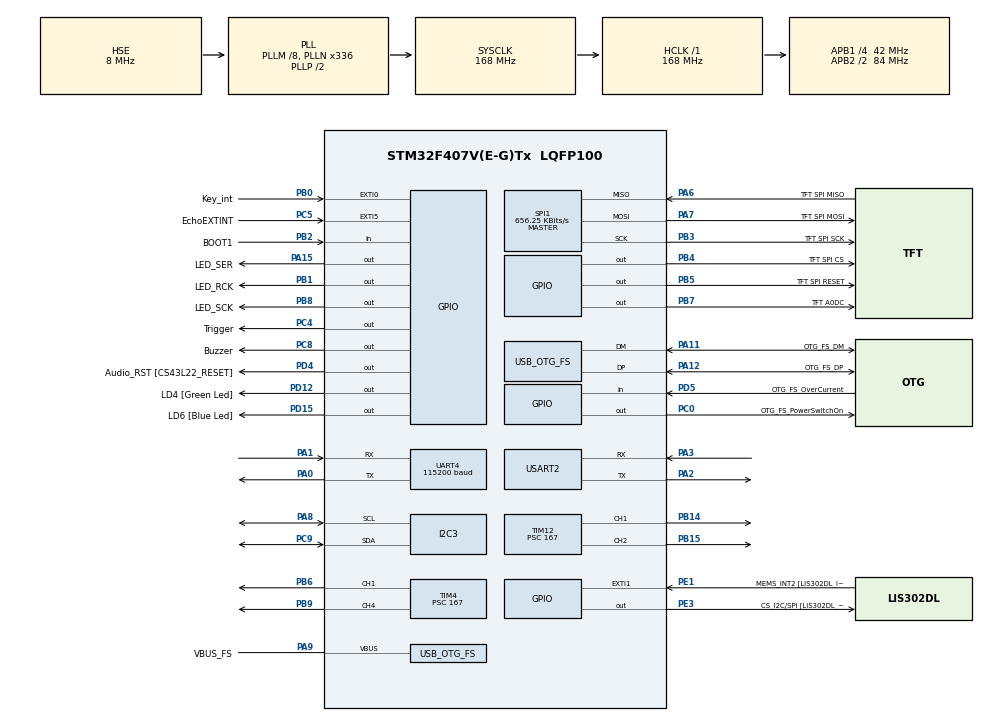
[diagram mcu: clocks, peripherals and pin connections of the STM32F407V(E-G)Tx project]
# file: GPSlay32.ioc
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FREERTOS.INCLUDE_pcTaskGetTaskName=1
FREERTOS.INCLUDE_xEventGroupSetBitFromISR=1
FREERTOS.INCLUDE_xTaskGetHandle=1
FREERTOS.Tasks01=defaultTask,24,128,StartDefaultTask,Default,NULL,Dynamic,NULL,NULL
FREERTOS.configTOTAL_HEAP_SIZE=64000
FREERTOS.configUSE_NEWLIB_REENTRANT=1
Mcu.Family=STM32F4
Mcu.Name=STM32F407V(E-G)Tx
Mcu.Package=LQFP100
NVIC.EXTI0_IRQn=true\:5\:0\:false\:false\:true\:true\:true\:true\:true
NVIC.EXTI9_5_IRQn=true\:5\:0\:false\:false\:true\:true\:true\:true\:true
NVIC.OTG_FS_IRQn=true\:5\:0\:false\:false\:true\:true\:true\:true\:true
NVIC.PriorityGroup=NVIC_PRIORITYGROUP_4
NVIC.TIM1_UP_TIM10_IRQn=true\:0\:0\:false\:false\:true\:false\:false\:true\:true
NVIC.TimeBase=TIM1_UP_TIM10_IRQn
NVIC.TimeBaseIP=TIM1
NVIC.UART4_IRQn=true\:5\:0\:false\:false\:true\:true\:true\:true\:true
NVIC.USART2_IRQn=true\:5\:0\:false\:false\:true\:true\:true\:true\:true
PA0-WKUP.Mode=Asynchronous
PA0-WKUP.Signal=UART4_TX
PA1.Mode=Asynchronous
PA1.Signal=UART4_RX
PA10.GPIO_Label=OTG_FS_ID
PA10.GPIO_Mode=GPIO_MODE_AF_PP
PA10.GPIO_PuPd=GPIO_NOPULL
PA10.GPIO_Speed=GPIO_SPEED_FREQ_LOW
PA10.Signal=USB_OTG_FS_ID
PA11.GPIO_Label=OTG_FS_DM
PA11.GPIO_Mode=GPIO_MODE_AF_PP
PA11.GPIO_PuPd=GPIO_NOPULL
PA11.GPIO_Speed=GPIO_SPEED_FREQ_LOW
PA11.Mode=Host_Only
PA11.Signal=USB_OTG_FS_DM
PA12.GPIO_Label=OTG_FS_DP
PA12.GPIO_Mode=GPIO_MODE_AF_PP
PA12.GPIO_PuPd=GPIO_NOPULL
PA12.GPIO_Speed=GPIO_SPEED_FREQ_LOW
PA12.Mode=Host_Only
PA12.Signal=USB_OTG_FS_DP
PA13.GPIO_Label=SWDIO
PA13.Mode=Serial_Wire
PA13.Signal=SYS_JTMS-SWDIO
PA14.GPIO_Label=SWCLK
PA14.Mode=Serial_Wire
PA14.Signal=SYS_JTCK-SWCLK
PA15.GPIO_Label=LED_SER
PA15.Signal=GPIO_Output
PA2.Mode=Asynchronous
PA2.Signal=USART2_TX
PA3.Mode=Asynchronous
PA3.Signal=USART2_RX
PA6.GPIO_Label=TFT SPI MISO
PA6.Mode=Full_Duplex_Master
PA6.Signal=SPI1_MISO
PA7.GPIO_Label=TFT SPI MOSI
PA7.Mode=Full_Duplex_Master
PA7.Signal=SPI1_MOSI
PA8.GPIO_Pu=GPIO_PULLUP
PA8.Mode=I2C
PA8.Signal=I2C3_SCL
PA9.GPIO_Label=VBUS_FS
PA9.GPIO_Mode=GPIO_MODE_INPUT
PA9.GPIO_PuPd=GPIO_NOPULL
PA9.Mode=Activate_VBUS
PA9.Signal=USB_OTG_FS_VBUS
PB0.GPIO_Label=Key_int
PB0.Signal=GPXTI0
PB1.GPIO_Label=LED_RCK
PB1.Signal=GPIO_Output
PB10.GPIO_Label=CLK_IN [MP45DT02_CLK]
PB10.GPIO_Mode=GPIO_MODE_AF_PP
PB10.GPIO_PuPd=GPIO_NOPULL
PB10.GPIO_Speed=GPIO_SPEED_FREQ_LOW
PB10.Signal=I2S2_CK
PB14.Signal=S_TIM12_CH1
PB15.Signal=S_TIM12_CH2
PB2.GPIO_Label=BOOT1
PB2.GPIO_Mode=GPIO_MODE_INPUT
PB2.GPIO_PuPd=GPIO_NOPULL
PB2.Signal=GPIO_Input
PB3.GPIO_Label=TFT SPI SCK
PB3.Mode=Full_Duplex_Master
PB3.Signal=SPI1_SCK
PB4.GPIO_Label=TFT SPI CS
PB4.Signal=GPIO_Output
PB5.GPIO_Label=TFT SPI RESET
PB5.Signal=GPIO_Output
PB6.Signal=S_TIM4_CH1
PB7.GPIO_Label=TFT A0DC
PB7.Signal=GPIO_Output
PB8.GPIO_Label=LED_SCK
PB8.Signal=GPIO_Output
PB9.Signal=S_TIM4_CH4
PC0.GPIO_Label=OTG_FS_PowerSwitchOn
PC0.GPIO_PuPd=GPIO_NOPULL
PC0.GPIO_Speed=GPIO_SPEED_FREQ_LOW
PC0.PinState=GPIO_PIN_SET
PC0.Signal=GPIO_Output
PC10.GPIO_Label=I2S3_SCK [CS43L22_SCLK]
PC10.GPIO_Mode=GPIO_MODE_AF_PP
PC10.GPIO_PuPd=GPIO_NOPULL
PC10.GPIO_Speed=GPIO_SPEED_FREQ_LOW
PC10.Signal=I2S3_CK
PC12.Signal=I2S3_SD
PC14-OSC32_IN.GPIO_Label=PC14-OSC32_IN
PC14-OSC32_IN.Mode=LSE-External-Oscillator
PC14-OSC32_IN.Signal=RCC_OSC32_IN
PC15-OSC32_OUT.GPIO_Label=PC15-OSC32_OUT
PC15-OSC32_OUT.Mode=LSE-External-Oscillator
PC15-OSC32_OUT.Signal=RCC_OSC32_OUT
PC3.GPIO_Label=PDM_OUT [MP45DT02_DOUT]
PC3.GPIO_Mode=GPIO_MODE_AF_PP
PC3.GPIO_PuPd=GPIO_NOPULL
PC3.GPIO_Speed=GPIO_SPEED_FREQ_LOW
PC3.Signal=I2S2_SD
PC4.GPIO_Label=Trigger
PC4.Signal=GPIO_Output
PC5.GPIO_Label=EchoEXTINT
PC5.GPIO_ModeDefaultEXTI=GPIO_MODE_IT_RISING_FALLING
PC5.GPIO_PuPd=GPIO_PULLDOWN
PC5.Signal=GPXTI5
PC7.GPIO_Label=I2S3_MCK [CS43L22_MCLK]
PC7.GPIO_Mode=GPIO_MODE_AF_PP
PC7.GPIO_PuPd=GPIO_NOPULL
PC7.GPIO_Speed=GPIO_SPEED_FREQ_LOW
PC7.Signal=I2S3_MCK
PC8.GPIO_Label=Buzzer
PC8.Signal=GPIO_Output
PC9.GPIO_Pu=GPIO_PULLUP
PC9.Mode=I2C
PC9.Signal=I2C3_SDA
PD12.GPIO_Label=LD4 [Green Led]
PD12.GPIO_PuPd=GPIO_NOPULL
PD12.GPIO_Speed=GPIO_SPEED_FREQ_LOW
PD12.Signal=GPIO_Output
PD15.GPIO_Label=LD6 [Blue Led]
PD15.GPIO_PuPd=GPIO_NOPULL
PD15.GPIO_Speed=GPIO_SPEED_FREQ_LOW
PD15.Signal=GPIO_Output
PD4.GPIO_Label=Audio_RST [CS43L22_RESET]
PD4.GPIO_PuPd=GPIO_NOPULL
PD4.GPIO_Speed=GPIO_SPEED_FREQ_LOW
PD4.Signal=GPIO_Output
PD5.GPIO_Label=OTG_FS_OverCurrent
PD5.GPIO_Mode=GPIO_MODE_INPUT
PD5.GPIO_PuPd=GPIO_NOPULL
PD5.Signal=GPIO_Input
PE1.GPIO_Label=MEMS_INT2 [LIS302DL_INT2]
PE1.GPIO_ModeDefaultEXTI=GPIO_MODE_EVT_RISING
PE1.GPIO_PuPd=GPIO_NOPULL
PE1.Signal=GPXTI1
PE3.GPIO_Label=CS_I2C/SPI [LIS302DL_CS_I2C/SPI]
PE3.GPIO_PuPd=GPIO_NOPULL
PE3.GPIO_Speed=GPIO_SPEED_FREQ_LOW
PE3.Signal=GPIO_Output
PH0-OSC_IN.GPIO_Label=PH0-OSC_IN
PH0-OSC_IN.Mode=HSE-External-Oscillator
PH0-OSC_IN.Signal=RCC_OSC_IN
PH1-OSC_OUT.GPIO_Label=PH1-OSC_OUT
PH1-OSC_OUT.Mode=HSE-External-Oscillator
PH1-OSC_OUT.Signal=RCC_OSC_OUT
ProjectManager.HeapSize=0x200
ProjectManager.StackSize=0x400
ProjectManager.TargetToolchain=STM32CubeIDE
RCC.48MHZClocksFreq_Value=48000000
RCC.AHBFreq_Value=168000000
RCC.APB1CLKDivider=RCC_HCLK_DIV4
RCC.APB1Freq_Value=42000000
RCC.APB1TimFreq_Value=84000000
RCC.APB2CLKDivider=RCC_HCLK_DIV2
RCC.APB2Freq_Value=84000000
RCC.APB2TimFreq_Value=168000000
RCC.CortexFreq_Value=168000000
RCC.HCLKFreq_Value=168000000
RCC.HSE_VALUE=8000000
RCC.HSI_VALUE=16000000
RCC.PLLM=8
RCC.PLLN=336
RCC.PLLQ=7
RCC.SYSCLKFreq_VALUE=168000000
RCC.SYSCLKSource=RCC_SYSCLKSOURCE_PLLCLK
RCC.VCOOutputFreq_Value=336000000
SH.S_TIM12_CH1.0=TIM12_CH1,PWM Generation1 CH1
SH.S_TIM12_CH2.0=TIM12_CH2,PWM Generation2 CH2
SH.S_TIM4_CH1.0=TIM4_CH1,PWM Generation1 CH1
SH.S_TIM4_CH4.0=TIM4_CH4,PWM Generation4 CH4
SPI1.BaudRatePrescaler=SPI_BAUDRATEPRESCALER_128
SPI1.CalculateBaudRate=656.25 KBits/s
SPI1.Direction=SPI_DIRECTION_2LINES
SPI1.Mode=SPI_MODE_MASTER
SPI1.VirtualType=VM_MASTER
TIM12.Channel-PWM\ Generation1\ CH1=TIM_CHANNEL_1
TIM12.Channel-PWM\ Generation2\ CH2=TIM_CHANNEL_2
TIM12.Prescaler=167
TIM4.Channel-PWM\ Generation1\ CH1=TIM_CHANNEL_1
TIM4.Channel-PWM\ Generation4\ CH4=TIM_CHANNEL_4
TIM4.Prescaler=167
TIM8.AutoReloadPreload=TIM_AUTORELOAD_PRELOAD_ENABLE
TIM8.Period=999
TIM8.Prescaler=167
TIM9.Period=12000
TIM9.Prescaler=167
UART4.BaudRate=115200
UART4.VirtualMode=Asynchronous
USART2.VirtualMode=VM_ASYNC
USB_HOST.BSP.number=1
USB_HOST.USBH_HandleTypeDef-CDC_FS=hUsbHostFS
USB_HOST.VirtualModeFS=Cdc
USB_HOST0.BSP.STBoard=false
USB_HOST0.BSP.api=Unknown
USB_HOST0.BSP.instance=PC0
USB_HOST0.BSP.ip=GPIO
USB_HOST0.BSP.mode=Output
USB_HOST0.BSP.name=Drive_VBUS_FS
USB_HOST0.BSP.solution=PC0
USB_OTG_FS.VirtualMode=Host_Only
USB_OTG_FS.phy_itface=HCD_PHY_EMBEDDED
VP_FREERTOS_VS_CMSIS_V2.Mode=CMSIS_V2
VP_SYS_VS_tim1.Mode=TIM1
VP_TIM8_VS_ClockSourceINT.Mode=Internal
VP_TIM9_VS_ClockSourceINT.Mode=Internal
VP_USB_HOST_VS_USB_HOST_CDC_FS.Mode=CDC_FS
board=STM32F407G-DISC1

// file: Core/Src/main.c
/* USER CODE BEGIN Header */
/**
  ******************************************************************************
  * @file           : main.c
  * @brief          : Main program body
  *
  ******************************************************************************
  * @attention Het grootste deel van deze main.c wordt gegenereerd door STM.
  * Eigen code bevindt zich op 'gereserveerde' plekken, wees daar voorzichtig mee.
  * Om deze reden heb ik zo min mogelijk 'eigen code' toegevoegd.
  *
  * <h2><center>&copy; Copyright (c) 2021 STMicroelectronics.
  * All rights reserved.</center></h2>
  *
  * This software component is licensed by ST under Ultimate Liberty license
  * SLA0044, the "License"; You may not use this file except in compliance with
  * the License. You may obtain a copy of the License at:
  *                             www.st.com/SLA0044
  *
  ******************************************************************************
  */
/* USER CODE END Header */
#include "main.h"
#include "cmsis_os.h"
#include "usb_host.h"

/* USER CODE BEGIN Includes */
#include "admin.h"
#include "NRF24.h"
#include "NRF24_reg_addresses.h"
#include "st7735.h"

/* USER CODE END Includes */

I2C_HandleTypeDef hi2c3;

SPI_HandleTypeDef hspi1;

TIM_HandleTypeDef htim4;
TIM_HandleTypeDef htim8;
TIM_HandleTypeDef htim9;
TIM_HandleTypeDef htim12;

UART_HandleTypeDef huart4;
UART_HandleTypeDef huart2;

/* Definitions for defaultTask */
osThreadId_t defaultTaskHandle;
const osThreadAttr_t defaultTask_attributes = {
  .name = "defaultTask",
  .stack_size = 128 * 4,
  .priority = (osPriority_t) osPriorityNormal,
};
/* USER CODE BEGIN PV */
// UART RX and TX buffers
unsigned char       uart4_char, uart2_char;

#define LSM303_MAG_ADDR     (0x1E << 1)   // Magnetometer I2C address for HAL
#define LSM303_WHO_AM_I_REG 0x4F          // WHO_AM_I register address
/* USER CODE END PV */

void SystemClock_Config(void);
static void MX_GPIO_Init(void);
static void MX_USART2_UART_Init(void);
static void MX_UART4_Init(void);
static void MX_SPI1_Init(void);
static void MX_I2C3_Init(void);
static void MX_TIM4_Init(void);
static void MX_TIM12_Init(void);
static void MX_TIM8_Init(void);
static void MX_TIM9_Init(void);
void StartDefaultTask(void *argument);

/* USER CODE BEGIN 0 */
void I2C_ScanBus(I2C_HandleTypeDef *hi2c) {
    char msg[32];
    for (uint8_t addr = 1; addr < 128; addr++) {
        if (HAL_I2C_IsDeviceReady(hi2c, addr << 1, 1, 10) == HAL_OK) {
            sprintf(msg, "Found device at 0x%02X\r\n", addr);
            UART_puts(msg);
        }
    }
}

/* USER CODE END 0 */

int main(void)
{

  /* MCU Configuration--------------------------------------------------------*/

  /* Reset of all peripherals, Initializes the Flash interface and the Systick. */
  HAL_Init();

  /* Configure the system clock */
  SystemClock_Config();

  /* Initialize all configured peripherals */
  MX_GPIO_Init();
  MX_USART2_UART_Init();
  MX_UART4_Init();
  MX_SPI1_Init();
  MX_I2C3_Init();
  MX_TIM4_Init();
  MX_TIM12_Init();
  MX_TIM8_Init();
  MX_TIM9_Init();
  /* USER CODE BEGIN 2 */

  // ST7735_Init();
  // ST7735_FillScreen(ST7735_BLACK);

  if (HAL_TIM_Base_Start_IT(&htim8) != HAL_OK)
  {
    Error_Handler();
  }

  UART_puts("\r\n\r\n\r\n I2C Bus scan:\r\n");
  I2C_ScanBus(&hi2c3);
  UART_puts("\r\n\r\n\r\n Starting up...\r\n");

  // LCD_init();
  KEYS_init();
  KEYS_initISR(1); // set all lines high once
  LED_init();

  DisplayVersion();
  osDelay(500); // time to read version

  /* USER CODE END 2 */

  /* Init scheduler */
  osKernelInitialize();

  /* Create the thread(s) */
  /* creation of defaultTask */
  defaultTaskHandle = osThreadNew(StartDefaultTask, NULL, &defaultTask_attributes);

  /* Start scheduler */
  osKernelStart();

  /* We should never get here as control is now taken by the scheduler */

  /* Infinite loop */
  while (1)
  {

  }
}

void SystemClock_Config(void)
{
  RCC_OscInitTypeDef RCC_OscInitStruct = {0};
  RCC_ClkInitTypeDef RCC_ClkInitStruct = {0};

  /** Configure the main internal regulator output voltage
  */
  __HAL_RCC_PWR_CLK_ENABLE();
  __HAL_PWR_VOLTAGESCALING_CONFIG(PWR_REGULATOR_VOLTAGE_SCALE1);

  /** Initializes the RCC Oscillators according to the specified parameters
  * in the RCC_OscInitTypeDef structure.
  */
  RCC_OscInitStruct.OscillatorType = RCC_OSCILLATORTYPE_HSE;
  RCC_OscInitStruct.HSEState = RCC_HSE_ON;
  RCC_OscInitStruct.PLL.PLLState = RCC_PLL_ON;
  RCC_OscInitStruct.PLL.PLLSource = RCC_PLLSOURCE_HSE;
  RCC_OscInitStruct.PLL.PLLM = 8;
  RCC_OscInitStruct.PLL.PLLN = 336;
  RCC_OscInitStruct.PLL.PLLP = RCC_PLLP_DIV2;
  RCC_OscInitStruct.PLL.PLLQ = 7;
  if (HAL_RCC_OscConfig(&RCC_OscInitStruct) != HAL_OK)
  {
    Error_Handler();
  }

  /** Initializes the CPU, AHB and APB buses clocks
  */
  RCC_ClkInitStruct.ClockType = RCC_CLOCKTYPE_HCLK|RCC_CLOCKTYPE_SYSCLK
                              |RCC_CLOCKTYPE_PCLK1|RCC_CLOCKTYPE_PCLK2;
  RCC_ClkInitStruct.SYSCLKSource = RCC_SYSCLKSOURCE_PLLCLK;
  RCC_ClkInitStruct.AHBCLKDivider = RCC_SYSCLK_DIV1;
  RCC_ClkInitStruct.APB1CLKDivider = RCC_HCLK_DIV4;
  RCC_ClkInitStruct.APB2CLKDivider = RCC_HCLK_DIV2;

  if (HAL_RCC_ClockConfig(&RCC_ClkInitStruct, FLASH_LATENCY_5) != HAL_OK)
  {
    Error_Handler();
  }
}

static void MX_I2C3_Init(void)
{

  hi2c3.Instance = I2C3;
  hi2c3.Init.ClockSpeed = 100000;
  hi2c3.Init.DutyCycle = I2C_DUTYCYCLE_2;
  hi2c3.Init.OwnAddress1 = 0;
  hi2c3.Init.AddressingMode = I2C_ADDRESSINGMODE_7BIT;
  hi2c3.Init.DualAddressMode = I2C_DUALADDRESS_DISABLE;
  hi2c3.Init.OwnAddress2 = 0;
  hi2c3.Init.GeneralCallMode = I2C_GENERALCALL_DISABLE;
  hi2c3.Init.NoStretchMode = I2C_NOSTRETCH_DISABLE;
  if (HAL_I2C_Init(&hi2c3) != HAL_OK)
  {
    Error_Handler();
  }

}

static void MX_SPI1_Init(void)
{

  /* SPI1 parameter configuration*/
  hspi1.Instance = SPI1;
  hspi1.Init.Mode = SPI_MODE_MASTER;
  hspi1.Init.Direction = SPI_DIRECTION_2LINES;
  hspi1.Init.DataSize = SPI_DATASIZE_8BIT;
  hspi1.Init.CLKPolarity = SPI_POLARITY_LOW;
  hspi1.Init.CLKPhase = SPI_PHASE_1EDGE;
  hspi1.Init.NSS = SPI_NSS_SOFT;
  hspi1.Init.BaudRatePrescaler = SPI_BAUDRATEPRESCALER_128;
  hspi1.Init.FirstBit = SPI_FIRSTBIT_MSB;
  hspi1.Init.TIMode = SPI_TIMODE_DISABLE;
  hspi1.Init.CRCCalculation = SPI_CRCCALCULATION_DISABLE;
  hspi1.Init.CRCPolynomial = 10;
  if (HAL_SPI_Init(&hspi1) != HAL_OK)
  {
    Error_Handler();
  }

}

static void MX_TIM4_Init(void)
{

  TIM_MasterConfigTypeDef sMasterConfig = {0};
  TIM_OC_InitTypeDef sConfigOC = {0};

  htim4.Instance = TIM4;
  htim4.Init.Prescaler = 167;
  htim4.Init.CounterMode = TIM_COUNTERMODE_UP;
  htim4.Init.Period = 65535;
  htim4.Init.ClockDivision = TIM_CLOCKDIVISION_DIV1;
  htim4.Init.AutoReloadPreload = TIM_AUTORELOAD_PRELOAD_DISABLE;
  if (HAL_TIM_PWM_Init(&htim4) != HAL_OK)
  {
    Error_Handler();
  }
  sMasterConfig.MasterOutputTrigger = TIM_TRGO_RESET;
  sMasterConfig.MasterSlaveMode = TIM_MASTERSLAVEMODE_DISABLE;
  if (HAL_TIMEx_MasterConfigSynchronization(&htim4, &sMasterConfig) != HAL_OK)
  {
    Error_Handler();
  }
  sConfigOC.OCMode = TIM_OCMODE_PWM1;
  sConfigOC.Pulse = 0;
  sConfigOC.OCPolarity = TIM_OCPOLARITY_HIGH;
  sConfigOC.OCFastMode = TIM_OCFAST_DISABLE;
  if (HAL_TIM_PWM_ConfigChannel(&htim4, &sConfigOC, TIM_CHANNEL_1) != HAL_OK)
  {
    Error_Handler();
  }
  if (HAL_TIM_PWM_ConfigChannel(&htim4, &sConfigOC, TIM_CHANNEL_4) != HAL_OK)
  {
    Error_Handler();
  }
  HAL_TIM_MspPostInit(&htim4);

}

static void MX_TIM8_Init(void)
{

  TIM_ClockConfigTypeDef sClockSourceConfig = {0};
  TIM_MasterConfigTypeDef sMasterConfig = {0};

  htim8.Instance = TIM8;
  htim8.Init.Prescaler = 167;
  htim8.Init.CounterMode = TIM_COUNTERMODE_UP;
  htim8.Init.Period = 999;
  htim8.Init.ClockDivision = TIM_CLOCKDIVISION_DIV1;
  htim8.Init.RepetitionCounter = 0;
  htim8.Init.AutoReloadPreload = TIM_AUTORELOAD_PRELOAD_ENABLE;
  if (HAL_TIM_Base_Init(&htim8) != HAL_OK)
  {
    Error_Handler();
  }
  sClockSourceConfig.ClockSource = TIM_CLOCKSOURCE_INTERNAL;
  if (HAL_TIM_ConfigClockSource(&htim8, &sClockSourceConfig) != HAL_OK)
  {
    Error_Handler();
  }
  sMasterConfig.MasterOutputTrigger = TIM_TRGO_RESET;
  sMasterConfig.MasterSlaveMode = TIM_MASTERSLAVEMODE_DISABLE;
  if (HAL_TIMEx_MasterConfigSynchronization(&htim8, &sMasterConfig) != HAL_OK)
  {
    Error_Handler();
  }

}

static void MX_TIM9_Init(void)
{

  TIM_ClockConfigTypeDef sClockSourceConfig = {0};

  htim9.Instance = TIM9;
  htim9.Init.Prescaler = 167;
  htim9.Init.CounterMode = TIM_COUNTERMODE_UP;
  htim9.Init.Period = 12000;
  htim9.Init.ClockDivision = TIM_CLOCKDIVISION_DIV1;
  htim9.Init.AutoReloadPreload = TIM_AUTORELOAD_PRELOAD_DISABLE;
  if (HAL_TIM_Base_Init(&htim9) != HAL_OK)
  {
    Error_Handler();
  }
  sClockSourceConfig.ClockSource = TIM_CLOCKSOURCE_INTERNAL;
  if (HAL_TIM_ConfigClockSource(&htim9, &sClockSourceConfig) != HAL_OK)
  {
    Error_Handler();
  }

}

static void MX_TIM12_Init(void)
{

  TIM_OC_InitTypeDef sConfigOC = {0};

  htim12.Instance = TIM12;
  htim12.Init.Prescaler = 167;
  htim12.Init.CounterMode = TIM_COUNTERMODE_UP;
  htim12.Init.Period = 65535;
  htim12.Init.ClockDivision = TIM_CLOCKDIVISION_DIV1;
  htim12.Init.AutoReloadPreload = TIM_AUTORELOAD_PRELOAD_DISABLE;
  if (HAL_TIM_PWM_Init(&htim12) != HAL_OK)
  {
    Error_Handler();
  }
  sConfigOC.OCMode = TIM_OCMODE_PWM1;
  sConfigOC.Pulse = 0;
  sConfigOC.OCPolarity = TIM_OCPOLARITY_HIGH;
  sConfigOC.OCFastMode = TIM_OCFAST_DISABLE;
  if (HAL_TIM_PWM_ConfigChannel(&htim12, &sConfigOC, TIM_CHANNEL_1) != HAL_OK)
  {
    Error_Handler();
  }
  if (HAL_TIM_PWM_ConfigChannel(&htim12, &sConfigOC, TIM_CHANNEL_2) != HAL_OK)
  {
    Error_Handler();
  }
  HAL_TIM_MspPostInit(&htim12);

}

static void MX_UART4_Init(void)
{

  huart4.Instance = UART4;
  huart4.Init.BaudRate = 115200;
  huart4.Init.WordLength = UART_WORDLENGTH_8B;
  huart4.Init.StopBits = UART_STOPBITS_1;
  huart4.Init.Parity = UART_PARITY_NONE;
  huart4.Init.Mode = UART_MODE_TX_RX;
  huart4.Init.HwFlowCtl = UART_HWCONTROL_NONE;
  huart4.Init.OverSampling = UART_OVERSAMPLING_16;
  if (HAL_UART_Init(&huart4) != HAL_OK)
  {
    Error_Handler();
  }

}

static void MX_USART2_UART_Init(void)
{

  huart2.Instance = USART2;
  huart2.Init.BaudRate = 115200;
  huart2.Init.WordLength = UART_WORDLENGTH_8B;
  huart2.Init.StopBits = UART_STOPBITS_1;
  huart2.Init.Parity = UART_PARITY_NONE;
  huart2.Init.Mode = UART_MODE_TX_RX;
  huart2.Init.HwFlowCtl = UART_HWCONTROL_NONE;
  huart2.Init.OverSampling = UART_OVERSAMPLING_16;
  if (HAL_UART_Init(&huart2) != HAL_OK)
  {
    Error_Handler();
  }

}

static void MX_GPIO_Init(void)
{
  GPIO_InitTypeDef GPIO_InitStruct = {0};

  /* GPIO Ports Clock Enable */
  __HAL_RCC_GPIOE_CLK_ENABLE();
  __HAL_RCC_GPIOC_CLK_ENABLE();
  __HAL_RCC_GPIOH_CLK_ENABLE();
  __HAL_RCC_GPIOA_CLK_ENABLE();
  __HAL_RCC_GPIOB_CLK_ENABLE();
  __HAL_RCC_GPIOD_CLK_ENABLE();

  /*Configure GPIO pin Output Level */
  HAL_GPIO_WritePin(CS_I2C_SPI_GPIO_Port, CS_I2C_SPI_Pin, GPIO_PIN_RESET);

  /*Configure GPIO pin Output Level */
  HAL_GPIO_WritePin(OTG_FS_PowerSwitchOn_GPIO_Port, OTG_FS_PowerSwitchOn_Pin, GPIO_PIN_SET);

  /*Configure GPIO pin Output Level */
  HAL_GPIO_WritePin(GPIOC, Trigger_Pin|Buzzer_Pin, GPIO_PIN_RESET);

  /*Configure GPIO pin Output Level */
  HAL_GPIO_WritePin(GPIOB, LED_RCK_Pin|TFT_SPI_CS_Pin|TFT_SPI_RESET_Pin|TFT_A0DC_Pin
                          |LED_SCK_Pin, GPIO_PIN_RESET);

  /*Configure GPIO pin Output Level */
  HAL_GPIO_WritePin(GPIOD, LD4_Pin|LD6_Pin|Audio_RST_Pin, GPIO_PIN_RESET);

  /*Configure GPIO pin Output Level */
  HAL_GPIO_WritePin(LED_SER_GPIO_Port, LED_SER_Pin, GPIO_PIN_RESET);

  /*Configure GPIO pin : CS_I2C_SPI_Pin */
  GPIO_InitStruct.Pin = CS_I2C_SPI_Pin;
  GPIO_InitStruct.Mode = GPIO_MODE_OUTPUT_PP;
  GPIO_InitStruct.Pull = GPIO_NOPULL;
  GPIO_InitStruct.Speed = GPIO_SPEED_FREQ_LOW;
  HAL_GPIO_Init(CS_I2C_SPI_GPIO_Port, &GPIO_InitStruct);

  /*Configure GPIO pins : OTG_FS_PowerSwitchOn_Pin Trigger_Pin Buzzer_Pin */
  GPIO_InitStruct.Pin = OTG_FS_PowerSwitchOn_Pin|Trigger_Pin|Buzzer_Pin;
  GPIO_InitStruct.Mode = GPIO_MODE_OUTPUT_PP;
  GPIO_InitStruct.Pull = GPIO_NOPULL;
  GPIO_InitStruct.Speed = GPIO_SPEED_FREQ_LOW;
  HAL_GPIO_Init(GPIOC, &GPIO_InitStruct);

  /*Configure GPIO pin : PDM_OUT_Pin */
  GPIO_InitStruct.Pin = PDM_OUT_Pin;
  GPIO_InitStruct.Mode = GPIO_MODE_AF_PP;
  GPIO_InitStruct.Pull = GPIO_NOPULL;
  GPIO_InitStruct.Speed = GPIO_SPEED_FREQ_LOW;
  GPIO_InitStruct.Alternate = GPIO_AF5_SPI2;
  HAL_GPIO_Init(PDM_OUT_GPIO_Port, &GPIO_InitStruct);

  /*Configure GPIO pin : EchoEXTINT_Pin */
  GPIO_InitStruct.Pin = EchoEXTINT_Pin;
  GPIO_InitStruct.Mode = GPIO_MODE_IT_RISING_FALLING;
  GPIO_InitStruct.Pull = GPIO_PULLDOWN;
  HAL_GPIO_Init(EchoEXTINT_GPIO_Port, &GPIO_InitStruct);

  /*Configure GPIO pin : Key_int_Pin */
  GPIO_InitStruct.Pin = Key_int_Pin;
  GPIO_InitStruct.Mode = GPIO_MODE_IT_RISING;
  GPIO_InitStruct.Pull = GPIO_NOPULL;
  HAL_GPIO_Init(Key_int_GPIO_Port, &GPIO_InitStruct);

  /*Configure GPIO pins : LED_RCK_Pin TFT_SPI_CS_Pin TFT_SPI_RESET_Pin TFT_A0DC_Pin
                           LED_SCK_Pin */
  GPIO_InitStruct.Pin = LED_RCK_Pin|TFT_SPI_CS_Pin|TFT_SPI_RESET_Pin|TFT_A0DC_Pin
                          |LED_SCK_Pin;
  GPIO_InitStruct.Mode = GPIO_MODE_OUTPUT_PP;
  GPIO_InitStruct.Pull = GPIO_NOPULL;
  GPIO_InitStruct.Speed = GPIO_SPEED_FREQ_LOW;
  HAL_GPIO_Init(GPIOB, &GPIO_InitStruct);

  /*Configure GPIO pin : BOOT1_Pin */
  GPIO_InitStruct.Pin = BOOT1_Pin;
  GPIO_InitStruct.Mode = GPIO_MODE_INPUT;
  GPIO_InitStruct.Pull = GPIO_NOPULL;
  HAL_GPIO_Init(BOOT1_GPIO_Port, &GPIO_InitStruct);

  /*Configure GPIO pin : CLK_IN_Pin */
  GPIO_InitStruct.Pin = CLK_IN_Pin;
  GPIO_InitStruct.Mode = GPIO_MODE_AF_PP;
  GPIO_InitStruct.Pull = GPIO_NOPULL;
  GPIO_InitStruct.Speed = GPIO_SPEED_FREQ_LOW;
  GPIO_InitStruct.Alternate = GPIO_AF5_SPI2;
  HAL_GPIO_Init(CLK_IN_GPIO_Port, &GPIO_InitStruct);

  /*Configure GPIO pins : LD4_Pin LD6_Pin Audio_RST_Pin */
  GPIO_InitStruct.Pin = LD4_Pin|LD6_Pin|Audio_RST_Pin;
  GPIO_InitStruct.Mode = GPIO_MODE_OUTPUT_PP;
  GPIO_InitStruct.Pull = GPIO_NOPULL;
  GPIO_InitStruct.Speed = GPIO_SPEED_FREQ_LOW;
  HAL_GPIO_Init(GPIOD, &GPIO_InitStruct);

  /*Configure GPIO pins : I2S3_MCK_Pin I2S3_SCK_Pin PC12 */
  GPIO_InitStruct.Pin = I2S3_MCK_Pin|I2S3_SCK_Pin|GPIO_PIN_12;
  GPIO_InitStruct.Mode = GPIO_MODE_AF_PP;
  GPIO_InitStruct.Pull = GPIO_NOPULL;
  GPIO_InitStruct.Speed = GPIO_SPEED_FREQ_LOW;
  GPIO_InitStruct.Alternate = GPIO_AF6_SPI3;
  HAL_GPIO_Init(GPIOC, &GPIO_InitStruct);

  /*Configure GPIO pin : LED_SER_Pin */
  GPIO_InitStruct.Pin = LED_SER_Pin;
  GPIO_InitStruct.Mode = GPIO_MODE_OUTPUT_PP;
  GPIO_InitStruct.Pull = GPIO_NOPULL;
  GPIO_InitStruct.Speed = GPIO_SPEED_FREQ_LOW;
  HAL_GPIO_Init(LED_SER_GPIO_Port, &GPIO_InitStruct);

  /*Configure GPIO pin : OTG_FS_OverCurrent_Pin */
  GPIO_InitStruct.Pin = OTG_FS_OverCurrent_Pin;
  GPIO_InitStruct.Mode = GPIO_MODE_INPUT;
  GPIO_InitStruct.Pull = GPIO_NOPULL;
  HAL_GPIO_Init(OTG_FS_OverCurrent_GPIO_Port, &GPIO_InitStruct);

  /*Configure GPIO pin : MEMS_INT2_Pin */
  GPIO_InitStruct.Pin = MEMS_INT2_Pin;
  GPIO_InitStruct.Mode = GPIO_MODE_EVT_RISING;
  GPIO_InitStruct.Pull = GPIO_NOPULL;
  HAL_GPIO_Init(MEMS_INT2_GPIO_Port, &GPIO_InitStruct);

  /* EXTI interrupt init*/
  HAL_NVIC_SetPriority(EXTI0_IRQn, 5, 0);
  HAL_NVIC_EnableIRQ(EXTI0_IRQn);

  HAL_NVIC_SetPriority(EXTI9_5_IRQn, 5, 0);
  HAL_NVIC_EnableIRQ(EXTI9_5_IRQn);

  /* USER CODE BEGIN MX_GPIO_Init_2 */

  /*----------------------*/
  /* SPI1 pins            */
  /*----------------------*/

  /* PB3 -> SPI1_SCK */
  GPIO_InitStruct.Pin = GPIO_PIN_3;
  GPIO_InitStruct.Mode = GPIO_MODE_AF_PP;
  GPIO_InitStruct.Pull = GPIO_NOPULL;
  GPIO_InitStruct.Speed = GPIO_SPEED_FREQ_VERY_HIGH;
  GPIO_InitStruct.Alternate = GPIO_AF5_SPI1;
  HAL_GPIO_Init(GPIOB, &GPIO_InitStruct);

  /* PA6 -> SPI1_MISO */
  GPIO_InitStruct.Pin = GPIO_PIN_6;
  GPIO_InitStruct.Mode = GPIO_MODE_AF_PP;
  GPIO_InitStruct.Pull = GPIO_NOPULL;
  GPIO_InitStruct.Speed = GPIO_SPEED_FREQ_VERY_HIGH;
  GPIO_InitStruct.Alternate = GPIO_AF5_SPI1;
  HAL_GPIO_Init(GPIOA, &GPIO_InitStruct);

  /* PA7 -> SPI1_MOSI */
  GPIO_InitStruct.Pin = GPIO_PIN_7;
  GPIO_InitStruct.Mode = GPIO_MODE_AF_PP;
  GPIO_InitStruct.Pull = GPIO_NOPULL;
  GPIO_InitStruct.Speed = GPIO_SPEED_FREQ_VERY_HIGH;
  GPIO_InitStruct.Alternate = GPIO_AF5_SPI1;
  HAL_GPIO_Init(GPIOA, &GPIO_InitStruct);

  /*----------------------*/
  /* I2C3 pins (SCL/SDA) */
  /* PA8 -> I2C3_SCL, PC9 -> I2C3_SDA */
  /* Configure as AF Open-Drain with pull-ups so HAL I2C works correctly */
  GPIO_InitStruct.Pin = GPIO_PIN_8;
  GPIO_InitStruct.Mode = GPIO_MODE_AF_OD;
  GPIO_InitStruct.Pull = GPIO_NOPULL;
  GPIO_InitStruct.Speed = GPIO_SPEED_FREQ_VERY_HIGH;
  GPIO_InitStruct.Alternate = GPIO_AF4_I2C3;
  HAL_GPIO_Init(GPIOA, &GPIO_InitStruct);

  GPIO_InitStruct.Pin = GPIO_PIN_9;
  GPIO_InitStruct.Mode = GPIO_MODE_AF_OD;
  GPIO_InitStruct.Pull = GPIO_NOPULL;
  GPIO_InitStruct.Speed = GPIO_SPEED_FREQ_VERY_HIGH;
  GPIO_InitStruct.Alternate = GPIO_AF4_I2C3;
  HAL_GPIO_Init(GPIOC, &GPIO_InitStruct);
  /* USER CODE END MX_GPIO_Init_2 */
}

/* USER CODE BEGIN 4 */

/* only used in UART interrupt mode. Now configured as local UART echo*/

/**
  * @brief  ISR die UART-characters op een Queue zet. De core-functie wordt gegenereerd.
  * <p>Demonstreert: xQueueSendFromISR(); portYIELD_FROM_ISR();</p>
  * @param huart
  * @return void.
  */
void HAL_UART_RxCpltCallback(UART_HandleTypeDef *huart)
{
	BaseType_t          xHigherPriorityTaskWoken = pdFALSE;

	// receive terminal user commands
	if (huart->Instance == USART2)
	{
		/// Receive one byte in interrupt mode
		HAL_UART_Receive_IT(&huart2, &uart2_char, 1);

		/// Zet de byte op de UART_queue
		xQueueSendFromISR(hUART_Queue, &uart2_char, &xHigherPriorityTaskWoken);
		if (xHigherPriorityTaskWoken != pdFALSE)
			portYIELD_FROM_ISR(xHigherPriorityTaskWoken); // force context switch
	}

	// receive GPS-data
	if (huart->Instance == UART4)
	{
		/// Receive one byte in interrupt mode
		HAL_UART_Receive_IT(&huart4, &uart4_char, 1);

		/// Zet de byte op de GPS_queue
		xQueueSendFromISR(hGPS_Queue, &uart4_char, &xHigherPriorityTaskWoken);
		if (xHigherPriorityTaskWoken != pdFALSE)
			portYIELD_FROM_ISR(xHigherPriorityTaskWoken); // force context switch
	}

}

/* USER CODE END 4 */

void StartDefaultTask(void *argument)
{
  /* init code for USB_HOST */
  MX_USB_HOST_Init();
  /* USER CODE BEGIN 5 */

  CreateHandles();
  CreateTasks();

  // start the interrupt handlers after all handles are created
  HAL_UART_Receive_IT(&huart2, &uart2_char, 1); //start the UART2 interrupt engine for reading
  HAL_UART_Receive_IT(&huart4, &uart4_char, 1); //start the UART4 interrupt engine GPS

  // UART_putint(byte2); UART_puts("\r\n"); // deze byte (de eerste) is nog een irritante bug.

  /* Infinite loop */
  for(;;)
  {
    osDelay(1);
    vTaskDelete(defaultTaskHandle); // remove this default task
  }
  /* USER CODE END 5 */
}

void HAL_TIM_PeriodElapsedCallback(TIM_HandleTypeDef *htim)
{
  if (htim->Instance == TIM1)
  {
    HAL_IncTick();
  }
}

void Error_Handler(void)
{
  __disable_irq();
  while (1)
  {
  }
}

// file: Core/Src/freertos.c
/* USER CODE BEGIN Header */
/**
  ******************************************************************************
  * File Name          : freertos.c
  * Description        : Code for freertos applications
  ******************************************************************************
  * @attention
  *
  * Copyright (c) 2021 STMicroelectronics.
  * All rights reserved.
  *
  * This software is licensed under terms that can be found in the LICENSE file
  * in the root directory of this software component.
  * If no LICENSE file comes with this software, it is provided AS-IS.
  *
  ******************************************************************************
  */
/* USER CODE END Header */

#include "FreeRTOS.h"
#include "task.h"
#include "main.h"

/* USER CODE BEGIN Application */
void configureTimerForRunTimeStats( void );
unsigned long getRunTimeCounterValue( void );
__weak void configureTimerForRunTimeStats( void )
{
	CoreDebug->DEMCR |= CoreDebug_DEMCR_TRCENA_Msk;
	DWT->CTRL|= 1;
	DWT->CYCCNT = 0;
}

__weak unsigned long getRunTimeCounterValue( void )
{
	return DWT->CYCCNT;
}
/* USER CODE END Application */
